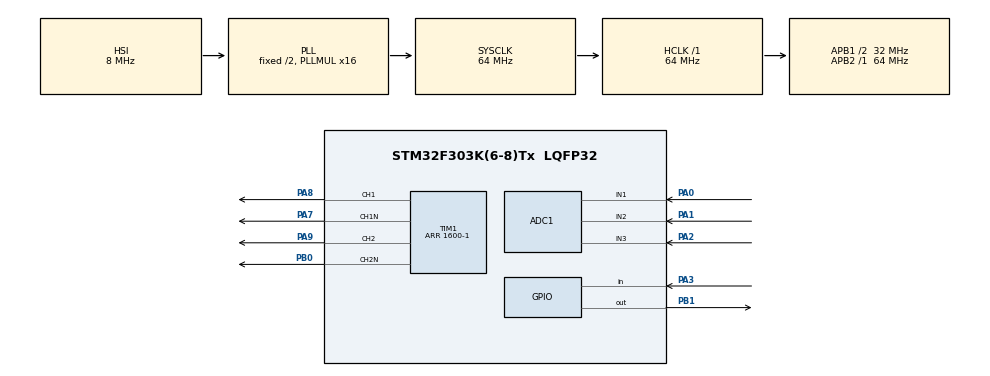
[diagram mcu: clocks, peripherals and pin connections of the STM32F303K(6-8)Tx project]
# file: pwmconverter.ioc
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ADC1.DataAlign=ADC_DATAALIGN_RIGHT
ADC1.EnableAnalogWatchDog1=false
ADC1.EnableRegularConversion=DISABLE
ADC1.ExternalTrigInjecConv=ADC_EXTERNALTRIGINJECCONV_T1_CC4
ADC1.InjNumberOfConversion=2
ADC1.InjectedChannel-1\#ChannelInjectedConversion=ADC_CHANNEL_1
ADC1.InjectedChannel-2\#ChannelInjectedConversion=ADC_CHANNEL_3
ADC1.InjectedOffset-1\#ChannelInjectedConversion=0
ADC1.InjectedOffset-2\#ChannelInjectedConversion=0
ADC1.InjectedOffsetNumber-1\#ChannelInjectedConversion=ADC_OFFSET_NONE
ADC1.InjectedOffsetNumber-2\#ChannelInjectedConversion=ADC_OFFSET_NONE
ADC1.InjectedRank-1\#ChannelInjectedConversion=1
ADC1.InjectedRank-2\#ChannelInjectedConversion=2
ADC1.InjectedSamplingTime-1\#ChannelInjectedConversion=ADC_SAMPLETIME_1CYCLE_5
ADC1.InjectedSamplingTime-2\#ChannelInjectedConversion=ADC_SAMPLETIME_1CYCLE_5
ADC1.InjectedSamplingTimeOPAMP-1\#ChannelInjectedConversion=ADC_SAMPLETIME_61CYCLES_5
ADC1.InjectedSamplingTimeOPAMP-2\#ChannelInjectedConversion=ADC_SAMPLETIME_61CYCLES_5
ADC1.InjectedSingleDiff-1\#ChannelInjectedConversion=ADC_DIFFERENTIAL_ENDED
ADC1.Rank1_Channel=ADC_CHANNEL_1
ADC1.Rank2_Channel=ADC_CHANNEL_3
ADC1.SubFamily=STM32F303x8
ADC1.master=1
Mcu.Family=STM32F3
Mcu.Name=STM32F303K(6-8)Tx
Mcu.Package=LQFP32
NVIC.ADC1_2_IRQn=true\:0\:0\:false\:false\:true\:true\:true
NVIC.PriorityGroup=NVIC_PRIORITYGROUP_4
PA0.Mode=IN1-Differential
PA0.Signal=ADC1_IN1
PA1.Mode=IN1-Differential
PA1.Signal=ADC1_IN2
PA2.Mode=IN3-Single-Ended
PA2.Signal=ADC1_IN3
PA3.Signal=GPIO_Input
PA7.Mode=PWM Generation1 CH1 CH1N
PA7.Signal=TIM1_CH1N
PA8.Signal=S_TIM1_CH1
PA9.Signal=S_TIM1_CH2
PB0.Mode=PWM Generation2 CH2 CH2N
PB0.Signal=TIM1_CH2N
PB1.Signal=GPIO_Output
ProjectManager.HeapSize=0x200
ProjectManager.StackSize=0x400
ProjectManager.TargetToolchain=STM32CubeIDE
RCC.AHBFreq_Value=64000000
RCC.APB1CLKDivider=RCC_HCLK_DIV2
RCC.APB1Freq_Value=32000000
RCC.APB1TimFreq_Value=64000000
RCC.APB2Freq_Value=64000000
RCC.APB2TimFreq_Value=64000000
RCC.CortexFreq_Value=64000000
RCC.HCLKFreq_Value=64000000
RCC.HSE_VALUE=8000000
RCC.HSI_VALUE=8000000
RCC.PLLMUL=RCC_PLL_MUL16
RCC.SYSCLKFreq_VALUE=64000000
RCC.SYSCLKSourceVirtual=RCC_SYSCLKSOURCE_PLLCLK
SH.S_TIM1_CH1.0=TIM1_CH1,PWM Generation1 CH1 CH1N
SH.S_TIM1_CH2.0=TIM1_CH2,PWM Generation2 CH2 CH2N
TIM1.Channel-PWM\ Generation1\ CH1\ CH1N=TIM_CHANNEL_1
TIM1.Channel-PWM\ Generation2\ CH2\ CH2N=TIM_CHANNEL_2
TIM1.Channel-PWM\ Generation4\ No\ Output=TIM_CHANNEL_4
TIM1.CounterMode=TIM_COUNTERMODE_CENTERALIGNED1
TIM1.DeadTime=80
TIM1.Period=1600-1
VP_TIM1_VS_no_output4.Mode=PWM Generation4 No Output
board=custom

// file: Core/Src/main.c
/* USER CODE BEGIN Header */
/**
  ******************************************************************************
  * @file           : main.c
  * @brief          : Main program body
  ******************************************************************************
  * @attention
  *
  * <h2><center>&copy; Copyright (c) 2021 STMicroelectronics.
  * All rights reserved.</center></h2>
  *
  * This software component is licensed by ST under BSD 3-Clause license,
  * the "License"; You may not use this file except in compliance with the
  * License. You may obtain a copy of the License at:
  *                        opensource.org/licenses/BSD-3-Clause
  *
  ******************************************************************************
  */
/* USER CODE END Header */
#include "main.h"

/* USER CODE BEGIN Includes */
#include <math.h>
/* USER CODE END Includes */

/* USER CODE BEGIN PD */
#define PI1			3.1415927f
#define PI2			6.2831853f

#define S_FREQ		18000			//Sampling,PWM,Control Frequency

#define IDC_LIM		2.5f			//Output Current Limit Value
#define VDC_REF		300.0f			//Output Voltage

#define R_SHUNT		0.01f;			//Current Sensor Shunt Resistance
#define VDC_DIV		5.452e-4f;		//Voltage Sensor Divider Gain

#define PRM_R		0.4f			//Reactor Resistance
#define PRM_L		0.75e-3f		//Reactor Inductance
#define PRM_C		440.0e-6f		//Smoothing Capacitor (x1/5-1/10)

#define VDC_LPF_COF	500.0f			//Voltage Sense LPF Cutoff Frequency
#define CO_FREQ		1500.0f			//Current Control Crossover Frequency

#define OB_GAIN1	12033.03867f	//Observer Gain 1
#define OB_GAIN2	59128.07279f	//Observer Gain 2
#define OB_GAIN3	184912193.4f	//Observer Gain 3

#define PLL_PRM		0.732f			//Adaptive PLL Filter Parameter

#define START_STEP	5000			//PLL & Observer Beginning Step
#define BEGIN_STEP	10000			//Charge Beginning Step
/* USER CODE END PD */

ADC_HandleTypeDef hadc1;

TIM_HandleTypeDef htim1;

/* USER CODE BEGIN PV */
extern int adc_flag;
/* USER CODE END PV */

void SystemClock_Config(void);
static void MX_GPIO_Init(void);
static void MX_ADC1_Init(void);
static void MX_TIM1_Init(void);

int main(void)
{
  /* USER CODE BEGIN 1 */
	int start_flag1 = 0;
	int start_flag2 = 0;
	int start_cnt = 0;

	float vdc = 0;

	float ac_2freq = 110;
	float ac_ang_freq = 0;

	float il_est = 0;
	float vac_est = 0;
	float vac_est_delay = 0;
	float vacd_est = 0;

	float theta = 0;
	float theta_err = 0;

	float vdc_lfs = 0;
	float idc_ref = 0;
	float dcvc_delay = 0;

	float ilc_i = 0;

	float duty = 0;
  /* USER CODE END 1 */

  /* MCU Configuration--------------------------------------------------------*/

  /* Reset of all peripherals, Initializes the Flash interface and the Systick. */
  HAL_Init();

  /* Configure the system clock */
  SystemClock_Config();

  /* Initialize all configured peripherals */
  MX_GPIO_Init();
  MX_ADC1_Init();
  MX_TIM1_Init();
  /* USER CODE BEGIN 2 */
  int timer_cp = HAL_RCC_GetHCLKFreq() / S_FREQ / 2;
  float time_sample = 1.0f / (float)S_FREQ;
  TIM1 -> PSC = 0;
  TIM1 -> ARR = timer_cp;

  HAL_ADCEx_Calibration_Start(&hadc1, ADC_SINGLE_ENDED);
  HAL_ADCEx_InjectedStart_IT(&hadc1);

  HAL_TIM_PWM_Start(&htim1, TIM_CHANNEL_1);
  HAL_TIMEx_PWMN_Start(&htim1, TIM_CHANNEL_1);
  HAL_TIM_PWM_Start(&htim1, TIM_CHANNEL_2);
  HAL_TIMEx_PWMN_Start(&htim1, TIM_CHANNEL_2);
  HAL_TIM_PWM_Start(&htim1, TIM_CHANNEL_4);
  TIM1 -> CCR1 = timer_cp / 2;
  TIM1 -> CCR2 = timer_cp / 2;
  TIM1 -> CCR4 = timer_cp / 100;
  /* USER CODE END 2 */

  /* Infinite loop */
  while (1)
  {

    /* USER CODE BEGIN 3 */
	if(adc_flag){
		/* get sensor value */
		float il = 1.0f - (2048.0f - (float)(ADC1 -> JDR1)) * 3.3f / 2048.0f / 8.2f / R_SHUNT;
		float vdcs = (float)(ADC1 -> JDR2) * 3.3f / 4096.0f / 8.2f / 2.0f / VDC_DIV;
		vdc = (vdc / (PI2 * VDC_LPF_COF) + vdcs * time_sample) / (1.0f / (PI2 * VDC_LPF_COF) + time_sample);

		/* start up */
		if (HAL_GPIO_ReadPin(GPIOA, GPIO_PIN_3))
		{
			start_cnt = 0;
			start_flag1 = 0;
			start_flag2 = 0;
			HAL_GPIO_WritePin(GPIOB, GPIO_PIN_1, GPIO_PIN_RESET);
		}
		else
		{
			if (start_cnt == START_STEP)
			{
				start_flag1 = 1;
				HAL_GPIO_WritePin(GPIOB, GPIO_PIN_1, GPIO_PIN_SET);
			}
			if (start_cnt == BEGIN_STEP) start_flag2 = 1;
			if (!start_flag2) start_cnt++;
		}

		/* AC voltage observer */
		float ob_err = il - il_est;

		float il_est_set = ob_err * OB_GAIN1 - vdc * duty / PRM_L - il_est * PRM_R / PRM_L + vac_est / PRM_L;
		float vac_est_set = ob_err * OB_GAIN2 + vacd_est;
		float vacd_est_set = ob_err * OB_GAIN3 - vac_est * ac_ang_freq * ac_ang_freq;

		il_est += il_est_set * time_sample;
		vac_est += vac_est_set * time_sample;
		vacd_est += vacd_est_set * time_sample;

		/* zero cross */
		if (signbit(vac_est) != signbit(vac_est_delay))
		{
			/* PLL */
			float theta_ref;
			if (signbit(vac_est)) theta_ref = PI1 * 3.0f/2.0f;
				else theta_ref = PI1 * 5.0f/2.0f;
			theta_err = theta_ref - theta;

			float pll_lpf = ac_ang_freq / PI1;
			if (pll_lpf > 130.0f) pll_lpf = 130.0f;
			if (pll_lpf < 90.0f) pll_lpf = 90.0f;
			ac_2freq = ac_2freq * PLL_PRM + pll_lpf * (1.0f - PLL_PRM);

			/* DC voltage controller */
			vdc_lfs = vdc;
			float vdc_err = VDC_REF - vdc_lfs;
			float io_ob = vdc_lfs * ac_2freq * PRM_C;
			float io_est = dcvc_delay - io_ob;
			idc_ref = vdc_err * ac_2freq * PRM_C + io_est;

			if (idc_ref > IDC_LIM) idc_ref = IDC_LIM;
			if (idc_ref < -IDC_LIM) idc_ref = -IDC_LIM;
			if (!start_flag2) idc_ref = 0.0f;

			dcvc_delay = idc_ref + io_ob;
		}
		vac_est_delay = vac_est;

		/* PLL integrator */
		float theta_m = fmodf(theta, PI2);
		ac_ang_freq = theta_err * ac_2freq;
		theta = theta_m + ac_ang_freq * time_sample;

		/* current controller */
		float il_ref = idc_ref * vdc_lfs * cosf(theta) * 1.414f / 100.0f;
		float il_err = il_ref - il;
		float ilc_p = - il_err * PI2 * CO_FREQ * PRM_L;
		ilc_i += ilc_p * time_sample * PRM_R / PRM_L * (float)start_flag1;
		duty = (ilc_p + ilc_i + vac_est) / vdc;

		if (duty > 1.0f) duty = 1.0f;
		if (duty < -1.0f) duty = -1.0f;
		if (!start_flag1) duty = 0.0f;

		/* PWM */
		float pwm1 = duty * 0.5f + 0.5f;
		float pwm2 = - duty * 0.5f + 0.5f;
		TIM1 -> CCR1 = (int)((float)timer_cp * pwm1);
		TIM1 -> CCR2 = (int)((float)timer_cp * pwm2);

		/* ADC flag reset */
		adc_flag = 0;
	}
  }
  /* USER CODE END 3 */
}

void SystemClock_Config(void)
{
  RCC_OscInitTypeDef RCC_OscInitStruct = {0};
  RCC_ClkInitTypeDef RCC_ClkInitStruct = {0};
  RCC_PeriphCLKInitTypeDef PeriphClkInit = {0};

  /** Initializes the RCC Oscillators according to the specified parameters
  * in the RCC_OscInitTypeDef structure.
  */
  RCC_OscInitStruct.OscillatorType = RCC_OSCILLATORTYPE_HSI;
  RCC_OscInitStruct.HSIState = RCC_HSI_ON;
  RCC_OscInitStruct.HSICalibrationValue = RCC_HSICALIBRATION_DEFAULT;
  RCC_OscInitStruct.PLL.PLLState = RCC_PLL_ON;
  RCC_OscInitStruct.PLL.PLLSource = RCC_PLLSOURCE_HSI;
  RCC_OscInitStruct.PLL.PLLMUL = RCC_PLL_MUL16;
  if (HAL_RCC_OscConfig(&RCC_OscInitStruct) != HAL_OK)
  {
    Error_Handler();
  }
  /** Initializes the CPU, AHB and APB buses clocks
  */
  RCC_ClkInitStruct.ClockType = RCC_CLOCKTYPE_HCLK|RCC_CLOCKTYPE_SYSCLK
                              |RCC_CLOCKTYPE_PCLK1|RCC_CLOCKTYPE_PCLK2;
  RCC_ClkInitStruct.SYSCLKSource = RCC_SYSCLKSOURCE_PLLCLK;
  RCC_ClkInitStruct.AHBCLKDivider = RCC_SYSCLK_DIV1;
  RCC_ClkInitStruct.APB1CLKDivider = RCC_HCLK_DIV2;
  RCC_ClkInitStruct.APB2CLKDivider = RCC_HCLK_DIV1;

  if (HAL_RCC_ClockConfig(&RCC_ClkInitStruct, FLASH_LATENCY_2) != HAL_OK)
  {
    Error_Handler();
  }
  PeriphClkInit.PeriphClockSelection = RCC_PERIPHCLK_TIM1|RCC_PERIPHCLK_ADC12;
  PeriphClkInit.Adc12ClockSelection = RCC_ADC12PLLCLK_DIV1;
  PeriphClkInit.Tim1ClockSelection = RCC_TIM1CLK_HCLK;
  if (HAL_RCCEx_PeriphCLKConfig(&PeriphClkInit) != HAL_OK)
  {
    Error_Handler();
  }
}

static void MX_ADC1_Init(void)
{

  ADC_MultiModeTypeDef multimode = {0};
  ADC_InjectionConfTypeDef sConfigInjected = {0};

  /** Common config
  */
  hadc1.Instance = ADC1;
  hadc1.Init.ClockPrescaler = ADC_CLOCK_ASYNC_DIV1;
  hadc1.Init.Resolution = ADC_RESOLUTION_12B;
  hadc1.Init.ScanConvMode = ADC_SCAN_ENABLE;
  hadc1.Init.ContinuousConvMode = DISABLE;
  hadc1.Init.DiscontinuousConvMode = DISABLE;
  hadc1.Init.DataAlign = ADC_DATAALIGN_RIGHT;
  hadc1.Init.NbrOfConversion = 1;
  hadc1.Init.DMAContinuousRequests = DISABLE;
  hadc1.Init.EOCSelection = ADC_EOC_SINGLE_CONV;
  hadc1.Init.LowPowerAutoWait = DISABLE;
  hadc1.Init.Overrun = ADC_OVR_DATA_OVERWRITTEN;
  if (HAL_ADC_Init(&hadc1) != HAL_OK)
  {
    Error_Handler();
  }
  /** Configure the ADC multi-mode
  */
  multimode.Mode = ADC_MODE_INDEPENDENT;
  if (HAL_ADCEx_MultiModeConfigChannel(&hadc1, &multimode) != HAL_OK)
  {
    Error_Handler();
  }
  /** Configure Injected Channel
  */
  sConfigInjected.InjectedChannel = ADC_CHANNEL_1;
  sConfigInjected.InjectedRank = ADC_INJECTED_RANK_1;
  sConfigInjected.InjectedSingleDiff = ADC_DIFFERENTIAL_ENDED;
  sConfigInjected.InjectedNbrOfConversion = 2;
  sConfigInjected.InjectedSamplingTime = ADC_SAMPLETIME_1CYCLE_5;
  sConfigInjected.ExternalTrigInjecConvEdge = ADC_EXTERNALTRIGINJECCONV_EDGE_RISING;
  sConfigInjected.ExternalTrigInjecConv = ADC_EXTERNALTRIGINJECCONV_T1_CC4;
  sConfigInjected.AutoInjectedConv = DISABLE;
  sConfigInjected.InjectedDiscontinuousConvMode = DISABLE;
  sConfigInjected.QueueInjectedContext = DISABLE;
  sConfigInjected.InjectedOffset = 0;
  sConfigInjected.InjectedOffsetNumber = ADC_OFFSET_NONE;
  if (HAL_ADCEx_InjectedConfigChannel(&hadc1, &sConfigInjected) != HAL_OK)
  {
    Error_Handler();
  }
  /** Configure Injected Channel
  */
  sConfigInjected.InjectedChannel = ADC_CHANNEL_3;
  sConfigInjected.InjectedRank = ADC_INJECTED_RANK_2;
  sConfigInjected.InjectedSingleDiff = ADC_SINGLE_ENDED;
  if (HAL_ADCEx_InjectedConfigChannel(&hadc1, &sConfigInjected) != HAL_OK)
  {
    Error_Handler();
  }

}

static void MX_TIM1_Init(void)
{

  TIM_MasterConfigTypeDef sMasterConfig = {0};
  TIM_OC_InitTypeDef sConfigOC = {0};
  TIM_BreakDeadTimeConfigTypeDef sBreakDeadTimeConfig = {0};

  htim1.Instance = TIM1;
  htim1.Init.Prescaler = 0;
  htim1.Init.CounterMode = TIM_COUNTERMODE_CENTERALIGNED1;
  htim1.Init.Period = 1600-1;
  htim1.Init.ClockDivision = TIM_CLOCKDIVISION_DIV1;
  htim1.Init.RepetitionCounter = 0;
  htim1.Init.AutoReloadPreload = TIM_AUTORELOAD_PRELOAD_DISABLE;
  if (HAL_TIM_PWM_Init(&htim1) != HAL_OK)
  {
    Error_Handler();
  }
  sMasterConfig.MasterOutputTrigger = TIM_TRGO_RESET;
  sMasterConfig.MasterOutputTrigger2 = TIM_TRGO2_RESET;
  sMasterConfig.MasterSlaveMode = TIM_MASTERSLAVEMODE_DISABLE;
  if (HAL_TIMEx_MasterConfigSynchronization(&htim1, &sMasterConfig) != HAL_OK)
  {
    Error_Handler();
  }
  sConfigOC.OCMode = TIM_OCMODE_PWM1;
  sConfigOC.Pulse = 0;
  sConfigOC.OCPolarity = TIM_OCPOLARITY_HIGH;
  sConfigOC.OCNPolarity = TIM_OCNPOLARITY_HIGH;
  sConfigOC.OCFastMode = TIM_OCFAST_DISABLE;
  sConfigOC.OCIdleState = TIM_OCIDLESTATE_RESET;
  sConfigOC.OCNIdleState = TIM_OCNIDLESTATE_RESET;
  if (HAL_TIM_PWM_ConfigChannel(&htim1, &sConfigOC, TIM_CHANNEL_1) != HAL_OK)
  {
    Error_Handler();
  }
  if (HAL_TIM_PWM_ConfigChannel(&htim1, &sConfigOC, TIM_CHANNEL_2) != HAL_OK)
  {
    Error_Handler();
  }
  if (HAL_TIM_PWM_ConfigChannel(&htim1, &sConfigOC, TIM_CHANNEL_4) != HAL_OK)
  {
    Error_Handler();
  }
  sBreakDeadTimeConfig.OffStateRunMode = TIM_OSSR_DISABLE;
  sBreakDeadTimeConfig.OffStateIDLEMode = TIM_OSSI_DISABLE;
  sBreakDeadTimeConfig.LockLevel = TIM_LOCKLEVEL_OFF;
  sBreakDeadTimeConfig.DeadTime = 80;
  sBreakDeadTimeConfig.BreakState = TIM_BREAK_DISABLE;
  sBreakDeadTimeConfig.BreakPolarity = TIM_BREAKPOLARITY_HIGH;
  sBreakDeadTimeConfig.BreakFilter = 0;
  sBreakDeadTimeConfig.Break2State = TIM_BREAK2_DISABLE;
  sBreakDeadTimeConfig.Break2Polarity = TIM_BREAK2POLARITY_HIGH;
  sBreakDeadTimeConfig.Break2Filter = 0;
  sBreakDeadTimeConfig.AutomaticOutput = TIM_AUTOMATICOUTPUT_DISABLE;
  if (HAL_TIMEx_ConfigBreakDeadTime(&htim1, &sBreakDeadTimeConfig) != HAL_OK)
  {
    Error_Handler();
  }
  HAL_TIM_MspPostInit(&htim1);

}

static void MX_GPIO_Init(void)
{
  GPIO_InitTypeDef GPIO_InitStruct = {0};

  /* GPIO Ports Clock Enable */
  __HAL_RCC_GPIOA_CLK_ENABLE();
  __HAL_RCC_GPIOB_CLK_ENABLE();

  /*Configure GPIO pin Output Level */
  HAL_GPIO_WritePin(GPIOB, GPIO_PIN_1, GPIO_PIN_RESET);

  /*Configure GPIO pin : PA3 */
  GPIO_InitStruct.Pin = GPIO_PIN_3;
  GPIO_InitStruct.Mode = GPIO_MODE_INPUT;
  GPIO_InitStruct.Pull = GPIO_NOPULL;
  HAL_GPIO_Init(GPIOA, &GPIO_InitStruct);

  /*Configure GPIO pin : PB1 */
  GPIO_InitStruct.Pin = GPIO_PIN_1;
  GPIO_InitStruct.Mode = GPIO_MODE_OUTPUT_PP;
  GPIO_InitStruct.Pull = GPIO_NOPULL;
  GPIO_InitStruct.Speed = GPIO_SPEED_FREQ_LOW;
  HAL_GPIO_Init(GPIOB, &GPIO_InitStruct);

}

void Error_Handler(void)
{
  __disable_irq();
  while (1)
  {
  }
}

/************************ (C) COPYRIGHT STMicroelectronics *****END OF FILE****/
